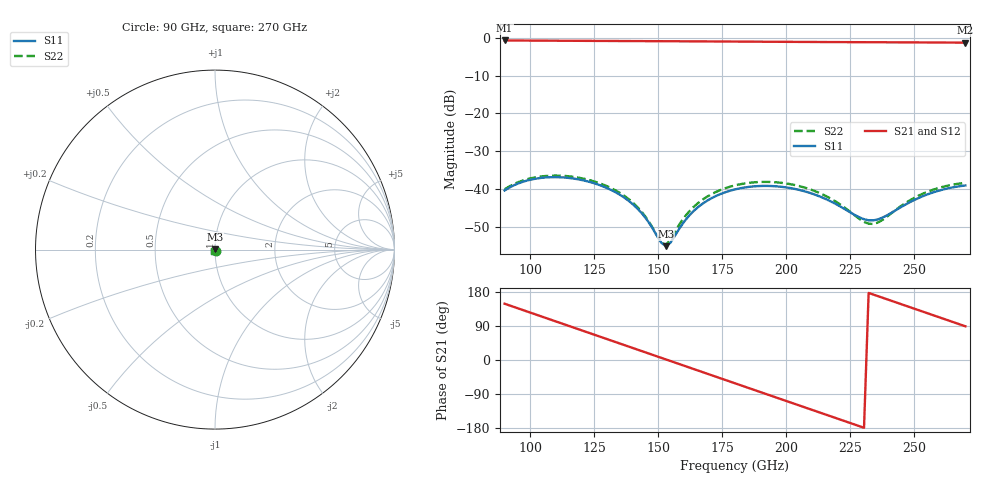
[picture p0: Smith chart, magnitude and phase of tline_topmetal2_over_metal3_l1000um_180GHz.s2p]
#  GHZ S DB R 50
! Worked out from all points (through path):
!   101 points, 90 GHz to 270 GHz, reference 50 ohm
!   highest |S21| = -0.64 dB at 90 GHz (marker M1); lowest = -1.2 dB at 270 GHz (marker M2)
!   group delay of S21, straight-line fit = 6.47 ps
!   lowest |S11| = -55.2 dB at 153 GHz (marker M3), VSWR 1.00, Z = 50.1 + j0.166 ohm
!   |S11| at or under -10 dB: start of sweep to end of sweep
!   |S22| runs from -54.8 to -36.5 dB; largest |S21 - S12| = 1.6e-13
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90  -40.42 -32.7  -0.64 148.5  -0.64 148.5  -40.11 -32.7
99  -37.75 -57.8  -0.67 127.5  -0.67 127.5  -37.40 -57.7
106.2  -36.97 -77.7  -0.70 110.7  -0.70 110.7  -36.58 -77.4
113.4  -36.99 -97.5  -0.72 93.9  -0.72 93.9  -36.56 -97.1
120.6  -37.72 -117.4  -0.75 77.1  -0.75 77.1  -37.25 -116.8
129.6  -39.66 -143.2  -0.77 56.1  -0.77 56.1  -39.17 -142.3
138.6  -43.23 -172.2  -0.80 35.1  -0.80 35.1  -42.77 -170.9
144  -46.80 165.4  -0.82 22.5  -0.82 22.5  -46.44 166.9
151.2  -54.29 103.7  -0.84 5.7  -0.84 5.7  -54.25 101.5
153  -55.20 72.7  -0.84 1.5  -0.84 1.5  -54.84 68.2
160.2  -48.64 -9.3  -0.87 -15.3  -0.87 -15.3  -47.53 -9.7
165.6  -44.82 -35.1  -0.89 -27.9  -0.89 -27.9  -43.74 -34.1
180  -40.14 -85.0  -0.94 -61.5  -0.94 -61.5  -39.08 -81.9
194.4  -39.25 -130.9  -0.99 -95.0  -0.99 -95.0  -38.19 -125.8
201.6  -39.79 -154.4  -1.02 -111.8  -1.02 -111.8  -38.75 -148.1
210.6  -41.37 174.2  -1.05 -132.7  -1.05 -132.7  -40.43 -177.6
221.4  -44.78 128.1  -1.08 -157.9  -1.08 -157.9  -44.28 139.4
232.2  -48.33 54.5  -1.11 177.0  -1.11 177.0  -49.24 62.2
235.8  -48.10 24.2  -1.12 168.6  -1.12 168.6  -48.94 26.7
241.2  -46.31 -15.0  -1.13 156.0  -1.13 156.0  -46.41 -15.7
255.6  -41.35 -82.8  -1.17 122.5  -1.17 122.5  -40.65 -80.5
270  -39.10 -133.2  -1.22 88.9  -1.22 88.9  -38.42 -128.5
